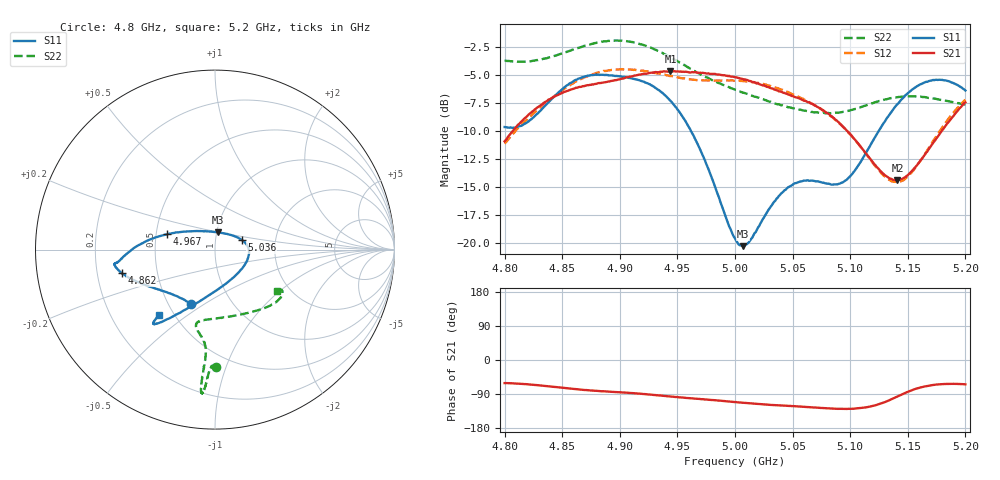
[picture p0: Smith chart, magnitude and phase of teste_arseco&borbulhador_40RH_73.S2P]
! Network Analyzer HP8722D
! Hewlett-Packard
! Data name: Linha & Wilkinson
! Saver's name: Rodrigo Anjos
! Comments: Teste da utilização de aquisição
! continua pelo VNA HP8722D
! Time and date: 15/4/2025 16:57
!  Frequency  S11  S21  S12  S22
# HZ  S  MA R 50
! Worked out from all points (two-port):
!   401 points, 4.8 GHz to 5.2 GHz, reference 50 ohm
!   highest |S21| = -4.64 dB at 4.944 GHz (marker M1); lowest = -14.4 dB at 5.141 GHz (marker M2)
!   |S21| within 3 dB of the highest: 4.832 GHz to 5.068 GHz (236.4 MHz wide, 4.78 % of centre); 5.197916 GHz to end of sweep
!   lowest |S11| = -20.3 dB at 5.007 GHz (marker M3), VSWR 1.21, Z = 50.5 + j9.79 ohm
!   |S11| at or under -10 dB: 4.962 GHz to 5.125 GHz (162.8 MHz wide, 3.23 % of centre)
!   |S22| runs from -8.4 to -1.9 dB; largest |S21 - S12| = 0.88
!   S11 on the Smith chart (normalised r, x): 4.8 GHz: 0.65, -0.44; 4.862 GHz: 0.31, -0.11; 4.967 GHz: 0.57, +0.11; 5.036 GHz: 1.34, +0.15; 5.2 GHz: 0.41, -0.39
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4.8e9  0.3303 -114.0  0.285 -61.0  0.2785 -175.1  0.654 -89.6
4.819e9  0.3452 -133.9  0.3669 -63.9  0.3546 -173.6  0.6476 -91.2
4.862e9  0.5366 -165.9  0.4952 -76.9  0.527 -176.7  0.74 -93.6
4.867e9  0.55 -167.9  0.5004 -78.6  0.5429 -177.8  0.7535 -93.9
4.9e9  0.5559 -172.4  0.5393 -85.1  0.5974 175.6  0.8024 -95.3
4.934e9  0.4825 -178.2  0.5805 -93.5  0.5729 171.7  0.7175 -95.8
4.944e9  0.4326 177.3  0.5863 -96.4  0.558 171.7  0.6778 -95.5
4.967e9  0.2812 162.3  0.5786 -102.1  0.5348 173.8  0.5787 -95.1
5e9  0.1052 105.8  0.551 -111.1  0.5328 176.2  0.4857 -99.4
5.007e9  0.09704 81.4  0.5394 -112.8  0.5296 176.3  0.4698 -101.0
5.014e9  0.1046 59.7  0.528 -114.9  0.5264 176.0  0.4578 -102.6
5.036e9  0.1581 20.4  0.4819 -119.2  0.4941 175.0  0.4186 -103.8
5.051e9  0.1844 5.0  0.4517 -121.7  0.4607 174.4  0.4002 -99.9
5.067e9  0.1904 -12.3  0.419 -125.0  0.4198 173.7  0.3859 -91.8
5.086e9  0.1831 -42.8  0.3618 -128.4  0.359 173.7  0.3815 -77.5
5.097e9  0.1921 -66.0  0.3185 -129.1  0.3187 174.5  0.3889 -68.4
5.134e9  0.3748 -116.5  0.1951 -106.0  0.1918 -158.9  0.4432 -43.4
5.141e9  0.4176 -120.4  0.191 -96.1  0.1878 -147.9  0.4491 -40.3
5.153e9  0.4819 -125.3  0.2086 -80.4  0.206 -129.5  0.453 -36.1
5.17e9  0.5321 -128.9  0.271 -66.9  0.2757 -112.9  0.4448 -32.2
5.184e9  0.5312 -130.2  0.3414 -63.1  0.352 -107.4  0.4319 -31.2
5.2e9  0.4808 -130.6  0.4257 -64.2  0.4375 -106.2  0.4159 -33.6
